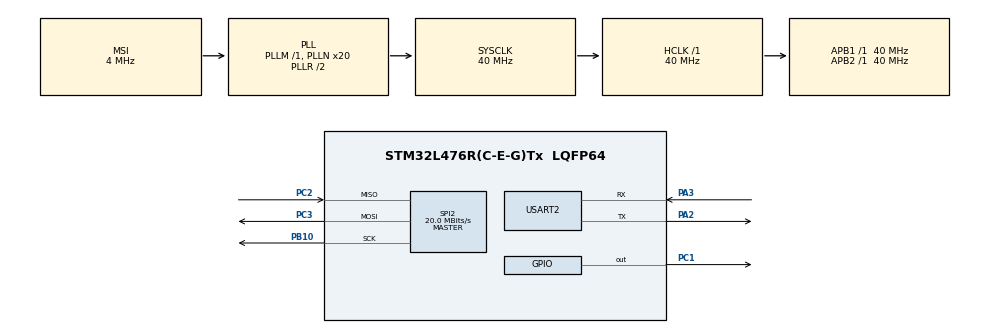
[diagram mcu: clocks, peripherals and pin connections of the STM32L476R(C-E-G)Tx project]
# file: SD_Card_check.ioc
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FATFS._MAX_SS=4096
FATFS._USE_LFN=1
Mcu.Family=STM32L4
Mcu.Name=STM32L476R(C-E-G)Tx
Mcu.Package=LQFP64
NVIC.PriorityGroup=NVIC_PRIORITYGROUP_4
PA2.Mode=Asynchronous
PA2.Signal=USART2_TX
PA3.Mode=Asynchronous
PA3.Signal=USART2_RX
PB10.Mode=Full_Duplex_Master
PB10.Signal=SPI2_SCK
PC1.Signal=GPIO_Output
PC2.Mode=Full_Duplex_Master
PC2.Signal=SPI2_MISO
PC3.Mode=Full_Duplex_Master
PC3.Signal=SPI2_MOSI
ProjectManager.HeapSize=0x200
ProjectManager.StackSize=0x400
ProjectManager.TargetToolchain=STM32CubeIDE
RCC.ADCFreq_Value=16000000
RCC.AHBFreq_Value=40000000
RCC.APB1Freq_Value=40000000
RCC.APB1TimFreq_Value=40000000
RCC.APB2Freq_Value=40000000
RCC.APB2TimFreq_Value=40000000
RCC.CortexFreq_Value=40000000
RCC.HCLKFreq_Value=40000000
RCC.HSE_VALUE=8000000
RCC.HSI_VALUE=16000000
RCC.LSE_VALUE=32768
RCC.MSI_VALUE=4000000
RCC.PLLN=20
RCC.PREFETCH_ENABLE=1
RCC.SYSCLKFreq_VALUE=40000000
RCC.SYSCLKSource=RCC_SYSCLKSOURCE_PLLCLK
RCC.USBFreq_Value=16000000
RCC.VCOOutputFreq_Value=80000000
SPI2.CalculateBaudRate=20.0 MBits/s
SPI2.DataSize=SPI_DATASIZE_8BIT
SPI2.Direction=SPI_DIRECTION_2LINES
SPI2.Mode=SPI_MODE_MASTER
SPI2.VirtualType=VM_MASTER
USART2.VirtualMode-Asynchronous=VM_ASYNC
VP_FATFS_VS_Generic.Mode=User_defined
board=NUCLEO-L476RG

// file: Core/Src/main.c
/* USER CODE BEGIN Header */
/**
  ******************************************************************************
  * @file           : main.c
  * @brief          : Main program body
  ******************************************************************************
  * @attention
  *
  * Copyright (c) 2025 STMicroelectronics.
  * All rights reserved.
  *
  * This software is licensed under terms that can be found in the LICENSE file
  * in the root directory of this software component.
  * If no LICENSE file comes with this software, it is provided AS-IS.
  *
  ******************************************************************************
  */
/* USER CODE END Header */
#include "main.h"
#include "fatfs.h"

/* USER CODE BEGIN Includes */
#include"fonts.h"
#include"ssd1306.h"
#include<stdio.h>
#include<string.h>
/* USER CODE END Includes */

SPI_HandleTypeDef hspi2;

UART_HandleTypeDef huart2;

void SystemClock_Config(void);
static void MX_GPIO_Init(void);
static void MX_SPI2_Init(void);
static void MX_USART2_UART_Init(void);
/* USER CODE BEGIN PFP */
void process_SD_card( void );

/* USER CODE END PFP */

/* USER CODE BEGIN 0 */
int _write(int file,char *ptr,int len)
{
    int i=0;
    for(i=0;i<len;i++)
    ITM_SendChar((*ptr++));
    return len;
}
/* USER CODE END 0 */

int main(void)
{

  /* MCU Configuration--------------------------------------------------------*/

  /* Reset of all peripherals, Initializes the Flash interface and the Systick. */
  HAL_Init();

  /* Configure the system clock */
  SystemClock_Config();

  /* Initialize all configured peripherals */
  MX_GPIO_Init();
  MX_SPI2_Init();
  MX_FATFS_Init();
  MX_USART2_UART_Init();
  /* USER CODE BEGIN 2 */
  printf("SD Card Initialization\n");
  process_SD_card();
  /* USER CODE END 2 */

  /* Infinite loop */
  while (1)
  {

  }
}

void SystemClock_Config(void)
{
  RCC_OscInitTypeDef RCC_OscInitStruct = {0};
  RCC_ClkInitTypeDef RCC_ClkInitStruct = {0};

  /** Configure the main internal regulator output voltage
  */
  if (HAL_PWREx_ControlVoltageScaling(PWR_REGULATOR_VOLTAGE_SCALE1) != HAL_OK)
  {
    Error_Handler();
  }

  /** Initializes the RCC Oscillators according to the specified parameters
  * in the RCC_OscInitTypeDef structure.
  */
  RCC_OscInitStruct.OscillatorType = RCC_OSCILLATORTYPE_MSI;
  RCC_OscInitStruct.MSIState = RCC_MSI_ON;
  RCC_OscInitStruct.MSICalibrationValue = 0;
  RCC_OscInitStruct.MSIClockRange = RCC_MSIRANGE_6;
  RCC_OscInitStruct.PLL.PLLState = RCC_PLL_ON;
  RCC_OscInitStruct.PLL.PLLSource = RCC_PLLSOURCE_MSI;
  RCC_OscInitStruct.PLL.PLLM = 1;
  RCC_OscInitStruct.PLL.PLLN = 20;
  RCC_OscInitStruct.PLL.PLLP = RCC_PLLP_DIV7;
  RCC_OscInitStruct.PLL.PLLQ = RCC_PLLQ_DIV2;
  RCC_OscInitStruct.PLL.PLLR = RCC_PLLR_DIV2;
  if (HAL_RCC_OscConfig(&RCC_OscInitStruct) != HAL_OK)
  {
    Error_Handler();
  }

  /** Initializes the CPU, AHB and APB buses clocks
  */
  RCC_ClkInitStruct.ClockType = RCC_CLOCKTYPE_HCLK|RCC_CLOCKTYPE_SYSCLK
                              |RCC_CLOCKTYPE_PCLK1|RCC_CLOCKTYPE_PCLK2;
  RCC_ClkInitStruct.SYSCLKSource = RCC_SYSCLKSOURCE_PLLCLK;
  RCC_ClkInitStruct.AHBCLKDivider = RCC_SYSCLK_DIV1;
  RCC_ClkInitStruct.APB1CLKDivider = RCC_HCLK_DIV1;
  RCC_ClkInitStruct.APB2CLKDivider = RCC_HCLK_DIV1;

  if (HAL_RCC_ClockConfig(&RCC_ClkInitStruct, FLASH_LATENCY_2) != HAL_OK)
  {
    Error_Handler();
  }
}

static void MX_SPI2_Init(void)
{

  /* SPI2 parameter configuration*/
  hspi2.Instance = SPI2;
  hspi2.Init.Mode = SPI_MODE_MASTER;
  hspi2.Init.Direction = SPI_DIRECTION_2LINES;
  hspi2.Init.DataSize = SPI_DATASIZE_8BIT;
  hspi2.Init.CLKPolarity = SPI_POLARITY_LOW;
  hspi2.Init.CLKPhase = SPI_PHASE_1EDGE;
  hspi2.Init.NSS = SPI_NSS_SOFT;
  hspi2.Init.BaudRatePrescaler = SPI_BAUDRATEPRESCALER_2;
  hspi2.Init.FirstBit = SPI_FIRSTBIT_MSB;
  hspi2.Init.TIMode = SPI_TIMODE_DISABLE;
  hspi2.Init.CRCCalculation = SPI_CRCCALCULATION_DISABLE;
  hspi2.Init.CRCPolynomial = 7;
  hspi2.Init.CRCLength = SPI_CRC_LENGTH_DATASIZE;
  hspi2.Init.NSSPMode = SPI_NSS_PULSE_ENABLE;
  if (HAL_SPI_Init(&hspi2) != HAL_OK)
  {
    Error_Handler();
  }

}

static void MX_USART2_UART_Init(void)
{

  huart2.Instance = USART2;
  huart2.Init.BaudRate = 115200;
  huart2.Init.WordLength = UART_WORDLENGTH_8B;
  huart2.Init.StopBits = UART_STOPBITS_1;
  huart2.Init.Parity = UART_PARITY_NONE;
  huart2.Init.Mode = UART_MODE_TX_RX;
  huart2.Init.HwFlowCtl = UART_HWCONTROL_NONE;
  huart2.Init.OverSampling = UART_OVERSAMPLING_16;
  huart2.Init.OneBitSampling = UART_ONE_BIT_SAMPLE_DISABLE;
  huart2.AdvancedInit.AdvFeatureInit = UART_ADVFEATURE_NO_INIT;
  if (HAL_UART_Init(&huart2) != HAL_OK)
  {
    Error_Handler();
  }

}

static void MX_GPIO_Init(void)
{
  GPIO_InitTypeDef GPIO_InitStruct = {0};

  /* GPIO Ports Clock Enable */
  __HAL_RCC_GPIOC_CLK_ENABLE();
  __HAL_RCC_GPIOA_CLK_ENABLE();
  __HAL_RCC_GPIOB_CLK_ENABLE();

  /*Configure GPIO pin Output Level */
  HAL_GPIO_WritePin(GPIOC, GPIO_PIN_1, GPIO_PIN_RESET);

  /*Configure GPIO pin : PC1 */
  GPIO_InitStruct.Pin = GPIO_PIN_1;
  GPIO_InitStruct.Mode = GPIO_MODE_OUTPUT_PP;
  GPIO_InitStruct.Pull = GPIO_NOPULL;
  GPIO_InitStruct.Speed = GPIO_SPEED_FREQ_LOW;
  HAL_GPIO_Init(GPIOC, &GPIO_InitStruct);

}

/* USER CODE BEGIN 4 */
void process_SD_card( void )
{
  FATFS       FatFs;                //Fatfs handle
  FIL         fil;                  //File handle
  FRESULT     fres;                 //Result after operations
  char        buf[100];

  do
  {
    fres = f_mount(&FatFs, "", 1);    //1=mount now
    if (fres != FR_OK)
    {
      printf("No SD Card found : (%i)\r\n", fres);
      break;
    }
    printf("SD Card Mounted Successfully!!!\r\n");

    //Read the SD Card Total size and Free Size
    FATFS *pfs;
    DWORD fre_clust;
    uint32_t totalSpace, freeSpace;

    f_getfree("", &fre_clust, &pfs);
    totalSpace = (uint32_t)((pfs->n_fatent - 2) * pfs->csize * 0.5);
    freeSpace = (uint32_t)(fre_clust * pfs->csize * 0.5);

    printf("TotalSpace : %lu bytes, FreeSpace = %lu bytes\n", totalSpace, freeSpace);

    fres = f_open(&fil, "Logs.txt", FA_WRITE | FA_READ | FA_CREATE_ALWAYS);
    if(fres != FR_OK)
    {
      printf("File creation/open Error : (%i)\r\n", fres);
      break;
    }

    printf("Writing data!!!\r\n");

    f_puts("SD card opened and can able to write successfully..\r\n", &fil);

    f_close(&fil);

    fres = f_open(&fil, "Logs.txt", FA_READ);
    if(fres != FR_OK)
    {
      printf("File opening Error : (%i)\r\n", fres);
      break;
    }

    f_gets(buf, sizeof(buf), &fil);
    //int len = strlen(buf);

    printf("Read Data : %s\n", buf);

    f_close(&fil);
    printf("Closing File!!!\r\n");

    fres = f_open(&fil, "Logs.txt", FA_OPEN_APPEND | FA_WRITE);

    f_puts("Append data to existing data in file\r\n", &fil);
    f_close(&fil);
    fres = f_open(&fil, "Logs.txt", FA_READ);
    f_gets(buf, sizeof(buf), &fil);
    printf("After Append : %s\n", buf);
     f_close(&fil);
    //f_lseek(&fil, len);

  } while(0);

  f_mount(NULL, "", 0);
  printf("SD Card Unmounted Successfully!!!\r\n");
}

/* USER CODE END 4 */

void Error_Handler(void)
{
  __disable_irq();
  while (1)
  {
  }
}
